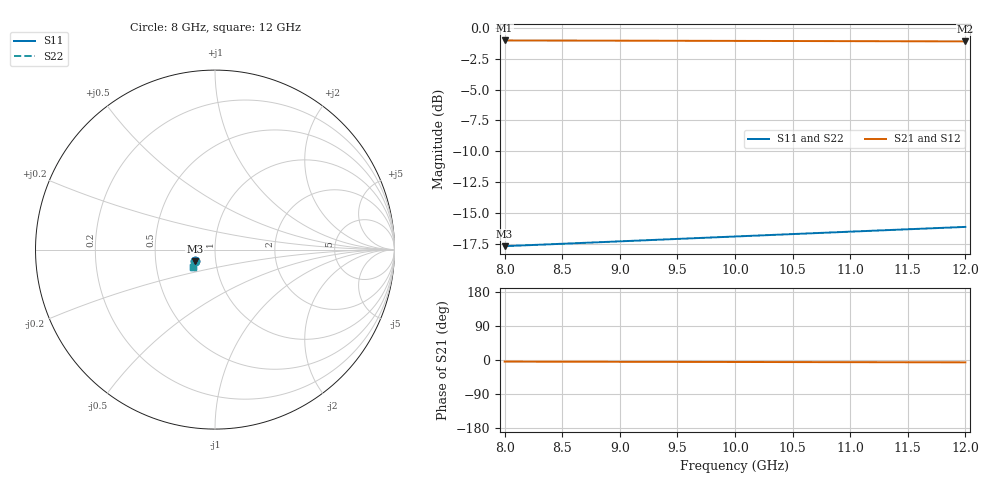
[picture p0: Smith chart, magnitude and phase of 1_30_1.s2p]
! Created Wed Oct 21 16:24:53 2020
# ghz S db R 50
! 2 Port Network Data from SP1.SP block
! freq  dbS11  angS11  dbS21  angS21  dbS12  angS12  dbS22  angS22
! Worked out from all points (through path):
!   9 points, 8 GHz to 12 GHz, reference 50 ohm
!   highest |S21| = -1.02 dB at 8 GHz (marker M1); lowest = -1.1 dB at 12 GHz (marker M2)
!   lowest |S11| = -17.7 dB at 8 GHz (marker M3), VSWR 1.30, Z = 39.5 - j5.28 ohm
!   |S11| at or under -10 dB: start of sweep to end of sweep
!   |S22| runs from -17.7 to -16.1 dB; largest |S21 - S12| = 0
8  -17.69 -149.8  -1.02 -4.2  -1.02 -4.2  -17.69 -149.8
8.5  -17.49 -148.6  -1.02 -4.5  -1.02 -4.5  -17.49 -148.6
9  -17.30 -147.5  -1.03 -4.7  -1.03 -4.7  -17.30 -147.5
9.5  -17.10 -146.5  -1.04 -5.0  -1.04 -5.0  -17.10 -146.5
10  -16.90 -145.5  -1.05 -5.2  -1.05 -5.2  -16.90 -145.5
10.5  -16.71 -144.6  -1.06 -5.5  -1.06 -5.5  -16.71 -144.6
11  -16.51 -143.8  -1.07 -5.7  -1.07 -5.7  -16.51 -143.8
11.5  -16.32 -143.0  -1.08 -6.0  -1.08 -6.0  -16.32 -143.0
12  -16.13 -142.3  -1.09 -6.2  -1.09 -6.2  -16.13 -142.3
